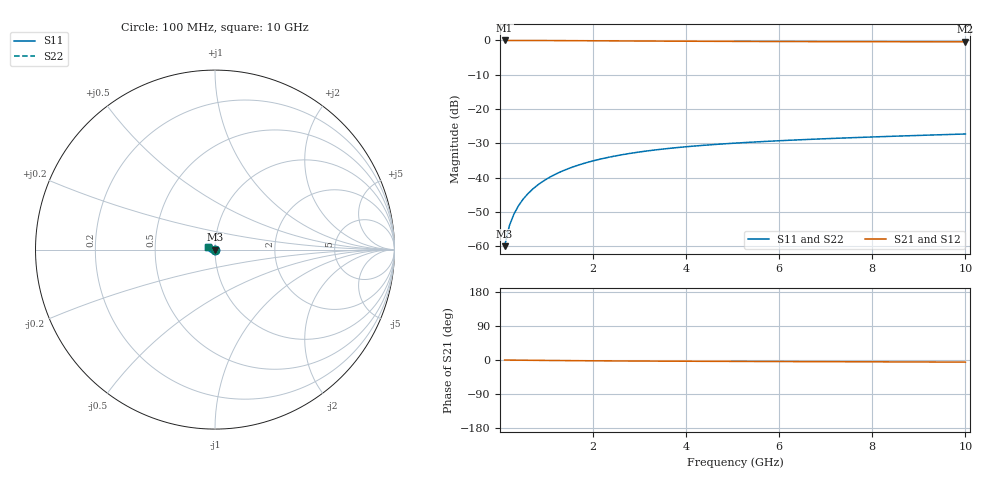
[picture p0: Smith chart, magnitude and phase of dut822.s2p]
! Touchstone file exported from HFSS 2024.1.0
!  File:  C:/UserFiles/LocalFiles/RDL_TSV_Batchsim/temp_TSV1_822_1779878341.aedt
!  Generated:  06:44:31 PM May 27, 2026
!  Design:  TSV1
!  Project:  temp_TSV1_822_1779878341
!  Setup:  Setup1
!  Solution:  Sweep
! Variables:
!  dtsv = 7.84um
!  hbump = 3um
!  htsv = 85.96um
!  lrdl = 252.1521522um
!  p = 40
!  p1 = 49.3um
!  t = 500um
!  trdl = 3um
!  wrdl = 24.89489489um
# GHz S MA R 50.000000
! Terminal data exported
! Port[1] = TSV22_T1
! Port[2] = TSV22_T2
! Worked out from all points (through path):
!   100 points, 100 MHz to 10 GHz, reference 50 ohm
!   highest |S21| = 0.00 dB at 100 MHz (marker M1); lowest = -0.4 dB at 10 GHz (marker M2)
!   lowest |S11| = -60.0 dB at 100 MHz (marker M3), VSWR 1.00, Z = 50 - j0.0977 ohm
!   |S11| at or under -10 dB: start of sweep to end of sweep
!   |S22| runs from -60.0 to -27.3 dB; largest |S21 - S12| = 4.1e-15
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0.1  0.0009994 -77.7  0.9997 -0.1  0.9997 -0.1  0.0009994 -77.7
! Gamma 0 0 0 0
! Port Impedance 50 0 50 0
0.2  0.001965 -86.4  0.9996 -0.2  0.9996 -0.2  0.001965 -86.4
0.3  0.002937 -90.7  0.9994 -0.4  0.9994 -0.4  0.002937 -90.7
0.4  0.003905 -93.9  0.9992 -0.5  0.9992 -0.5  0.003905 -93.9
0.5  0.004866 -96.5  0.9989 -0.6  0.9989 -0.6  0.004866 -96.5
0.6  0.005818 -98.9  0.9985 -0.7  0.9985 -0.7  0.005818 -98.9
0.7  0.006759 -101.1  0.9981 -0.8  0.9981 -0.8  0.006759 -101.1
0.8  0.007689 -103.2  0.9977 -0.9  0.9977 -0.9  0.007689 -103.2
0.9  0.008605 -105.3  0.9972 -1.0  0.9972 -1.0  0.008605 -105.3
1.1  0.01039 -109.2  0.996 -1.3  0.996 -1.3  0.01039 -109.2
1.4  0.01294 -114.8  0.994 -1.6  0.994 -1.6  0.01294 -114.8
1.6  0.01455 -118.3  0.9925 -1.7  0.9925 -1.7  0.01455 -118.3
1.8  0.01608 -121.7  0.9909 -1.9  0.9909 -1.9  0.01608 -121.7
2.1  0.01822 -126.6  0.9885 -2.2  0.9885 -2.2  0.01822 -126.6
2.5  0.02081 -132.7  0.9852 -2.4  0.9852 -2.4  0.02081 -132.7
2.9  0.0231 -138.3  0.982 -2.7  0.982 -2.7  0.0231 -138.3
3.4  0.0256 -144.8  0.9783 -3.0  0.9783 -3.0  0.0256 -144.8
4.2  0.02892 -154.0  0.9731 -3.4  0.9731 -3.4  0.02892 -154.0
5.1  0.03194 -162.9  0.9683 -3.7  0.9683 -3.7  0.03194 -162.9
6.7  0.0362 -175.9  0.9621 -4.3  0.9621 -4.3  0.0362 -175.9
8.4  0.03996 172.9  0.9577 -5.0  0.9577 -5.0  0.03996 172.9
10  0.04323 164.2  0.9549 -5.6  0.9549 -5.6  0.04323 164.2
